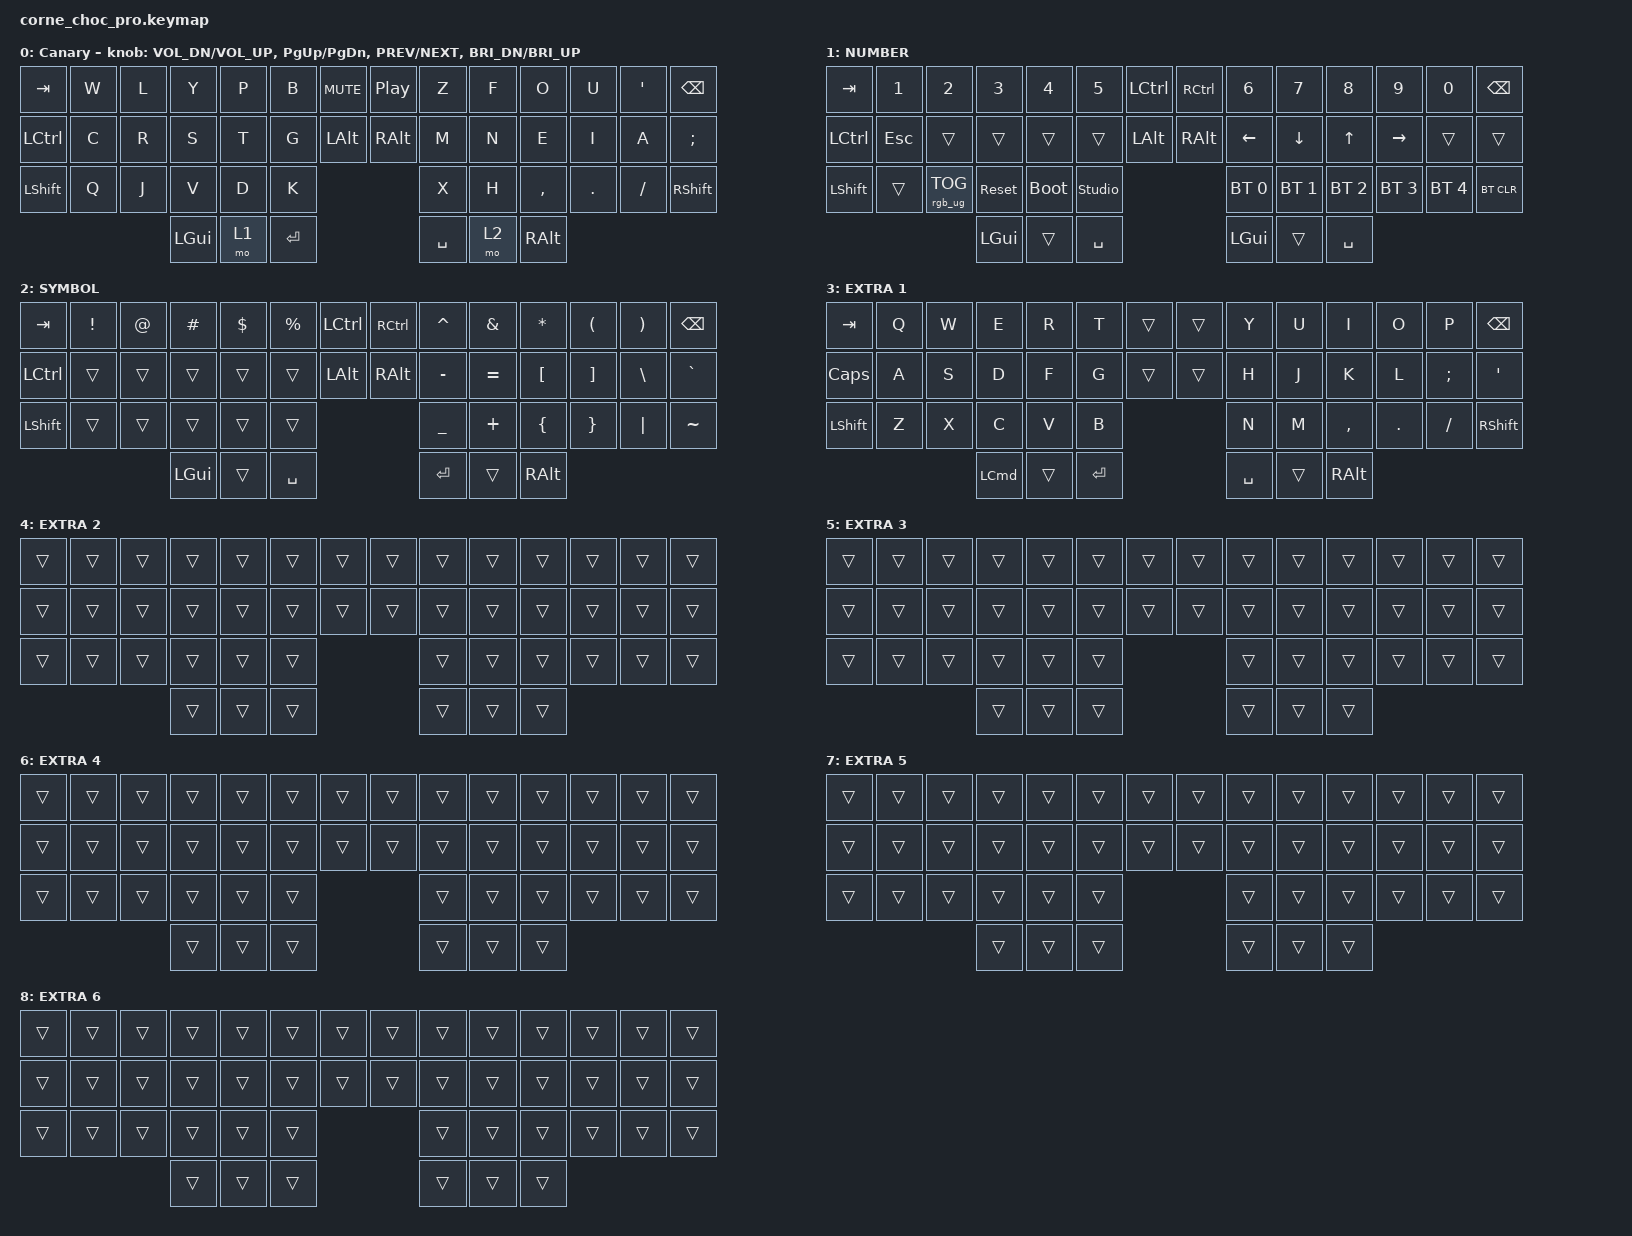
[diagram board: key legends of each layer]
/*
 * Copyright (c) 2020 The ZMK Contributors
 *
 * SPDX-License-Identifier: MIT
 */

#include <behaviors.dtsi>
#include <dt-bindings/zmk/bt.h>
#include <dt-bindings/zmk/keys.h>
#include <dt-bindings/zmk/rgb.h>

/ {
    chosen { zmk,physical-layout = &default_layout; };
};

/ {
    combos {
        compatible = "zmk,combos";

        to_qwerty {
            bindings = <&tog 3>;
            key-positions = <41 44>;
        };
    };

    keymap {
        compatible = "zmk,keymap";

        default_layer {
            display-name = "Canary";

            // --------------------------------------------------------------------------------
            // |  TAB |  Q  |  W  |  E  |  R  |  T  |  MUTE |  PP   |  Y  |  U   |  I  |  O  |  P  | BSPC |
            // | CTRL |  A  |  S  |  D  |  F  |  G  |  LALT |  RALT |  H  |  J   |  K  |  L  |  ;  |  '   |
            // | SHFT |  Z  |  X  |  C  |  V  |  B  |               |  N  |  M   |  ,  |  .  |  /  | ESC  |
            //                    | GUI | LWR | SPC |               | ENT | RSE  | ALT |

            bindings = <
&kp TAB    &kp W  &kp L  &kp Y     &kp P  &kp B       &kp C_MUTE  &kp C_PP  &kp Z      &kp F  &kp O      &kp U    &kp SINGLE_QUOTE  &kp BSPC
&kp LCTRL  &kp C  &kp R  &kp S     &kp T  &kp G       &kp LALT    &kp RALT  &kp M      &kp N  &kp E      &kp I    &kp A             &kp SEMI
&kp LSHFT  &kp Q  &kp J  &kp V     &kp D  &kp K                             &kp X      &kp H  &kp COMMA  &kp DOT  &kp FSLH          &kp RIGHT_SHIFT
                         &kp LGUI  &mo 1  &kp RETURN                        &kp SPACE  &mo 2  &kp RALT
            >;

            sensor-bindings = <&inc_dec_kp C_VOL_DN C_VOL_UP &inc_dec_kp PG_UP PG_DN &inc_dec_kp C_PREV C_NEXT &inc_dec_kp C_BRI_DN C_BRI_UP>;
        };

        lower_layer {
            display-name = "NUMBER";

            // -----------------------------------------------------------------------------------------
            // |  TAB |  1  |  2  |  3  |  4  |  5    |  LCTRL | RCTRL |  6  |  7  |  8  |  9  |  0  | BSPC |
            // | CTRL | BT1 | BT2 | BT3 | BT4 | BT5   |  LALT  | RALT  | LFT | DWN |  UP | RGT |     |      |
            // | SHFT | BTCR| RGB | RST | BOOT| Unlock|        |       |     |     |     |     |     |      |
            //                    | GUI |     | SPC   |        | ENT   |     | ALT |

            bindings = <
&kp TAB    &kp N1   &kp N2           &kp N3      &kp N4       &kp N5          &kp LCTRL  &kp RCTRL  &kp N6        &kp N7        &kp N8        &kp N9        &kp N0        &kp BSPC
&kp LCTRL  &kp ESC  &trans           &trans      &trans       &trans          &kp LALT   &kp RALT   &kp LEFT      &kp DOWN      &kp UP        &kp RIGHT     &trans        &trans
&kp LSHFT  &trans   &rgb_ug RGB_TOG  &sys_reset  &bootloader  &studio_unlock                        &bt BT_SEL 0  &bt BT_SEL 1  &bt BT_SEL 2  &bt BT_SEL 3  &bt BT_SEL 4  &bt BT_CLR
                                     &kp LGUI    &trans       &kp SPACE                             &kp LGUI      &trans        &kp SPACE
            >;
        };

        raise_layer {
            display-name = "SYMBOL";

            // -----------------------------------------------------------------------------------------
            // |  TAB |  !  |  @  |  #  |  $  |  %  | LCTRL | RCTRL |  ^  |  &  |  *  |  (  |  )  | BSPC |
            // | CTRL |     |     |     |     |     |  LALT | RALT  |  -  |  =  |  [  |  ]  |  \  |  `   |
            // | SHFT |     |     |     |     |     |               |  _  |  +  |  {  |  }  | "|" |  ~   |
            //                    | GUI |     | SPC |               | ENT |     | ALT |

            bindings = <
&kp TAB    &kp EXCL  &kp AT  &kp HASH  &kp DLLR  &kp PRCNT  &kp LCTRL  &kp RCTRL  &kp CARET  &kp AMPS   &kp ASTRK  &kp LPAR  &kp RPAR  &kp BSPC
&kp LCTRL  &trans    &trans  &trans    &trans    &trans     &kp LALT   &kp RALT   &kp MINUS  &kp EQUAL  &kp LBKT   &kp RBKT  &kp BSLH  &kp GRAVE
&kp LSHFT  &trans    &trans  &trans    &trans    &trans                           &kp UNDER  &kp PLUS   &kp LBRC   &kp RBRC  &kp PIPE  &kp TILDE
                             &kp LGUI  &trans    &kp SPACE                        &kp RET    &trans     &kp RALT
            >;
        };

        qwerty {
            display-name = "EXTRA 1";
            bindings = <
&kp TAB    &kp Q  &kp W  &kp E             &kp R   &kp T      &trans  &trans  &kp Y      &kp U   &kp I          &kp O    &kp P     &kp BSPC
&kp CAPS   &kp A  &kp S  &kp D             &kp F   &kp G      &trans  &trans  &kp H      &kp J   &kp K          &kp L    &kp SEMI  &kp APOS
&kp LSHFT  &kp Z  &kp X  &kp C             &kp V   &kp B                      &kp N      &kp M   &kp COMMA      &kp DOT  &kp FSLH  &kp RSHFT
                         &kp LEFT_COMMAND  &trans  &kp ENTER                  &kp SPACE  &trans  &kp RIGHT_ALT
            >;
        };

        extra_layer_2 {
            display-name = "EXTRA 2";
            bindings = <
&trans  &trans  &trans  &trans  &trans  &trans  &trans  &trans  &trans  &trans  &trans  &trans  &trans  &trans
&trans  &trans  &trans  &trans  &trans  &trans  &trans  &trans  &trans  &trans  &trans  &trans  &trans  &trans
&trans  &trans  &trans  &trans  &trans  &trans                  &trans  &trans  &trans  &trans  &trans  &trans
                        &trans  &trans  &trans                  &trans  &trans  &trans
            >;
        };

        extra_layer_3 {
            display-name = "EXTRA 3";
            bindings = <
&trans  &trans  &trans  &trans  &trans  &trans  &trans  &trans  &trans  &trans  &trans  &trans  &trans  &trans
&trans  &trans  &trans  &trans  &trans  &trans  &trans  &trans  &trans  &trans  &trans  &trans  &trans  &trans
&trans  &trans  &trans  &trans  &trans  &trans                  &trans  &trans  &trans  &trans  &trans  &trans
                        &trans  &trans  &trans                  &trans  &trans  &trans
            >;
        };

        extra_layer_4 {
            display-name = "EXTRA 4";
            bindings = <
&trans  &trans  &trans  &trans  &trans  &trans  &trans  &trans  &trans  &trans  &trans  &trans  &trans  &trans
&trans  &trans  &trans  &trans  &trans  &trans  &trans  &trans  &trans  &trans  &trans  &trans  &trans  &trans
&trans  &trans  &trans  &trans  &trans  &trans                  &trans  &trans  &trans  &trans  &trans  &trans
                        &trans  &trans  &trans                  &trans  &trans  &trans
            >;
        };

        extra_layer_5 {
            display-name = "EXTRA 5";
            bindings = <
&trans  &trans  &trans  &trans  &trans  &trans  &trans  &trans  &trans  &trans  &trans  &trans  &trans  &trans
&trans  &trans  &trans  &trans  &trans  &trans  &trans  &trans  &trans  &trans  &trans  &trans  &trans  &trans
&trans  &trans  &trans  &trans  &trans  &trans                  &trans  &trans  &trans  &trans  &trans  &trans
                        &trans  &trans  &trans                  &trans  &trans  &trans
            >;
        };

        extra_layer_6 {
            display-name = "EXTRA 6";
            bindings = <
&trans  &trans  &trans  &trans  &trans  &trans  &trans  &trans  &trans  &trans  &trans  &trans  &trans  &trans
&trans  &trans  &trans  &trans  &trans  &trans  &trans  &trans  &trans  &trans  &trans  &trans  &trans  &trans
&trans  &trans  &trans  &trans  &trans  &trans                  &trans  &trans  &trans  &trans  &trans  &trans
                        &trans  &trans  &trans                  &trans  &trans  &trans
            >;
        };
    };
};
